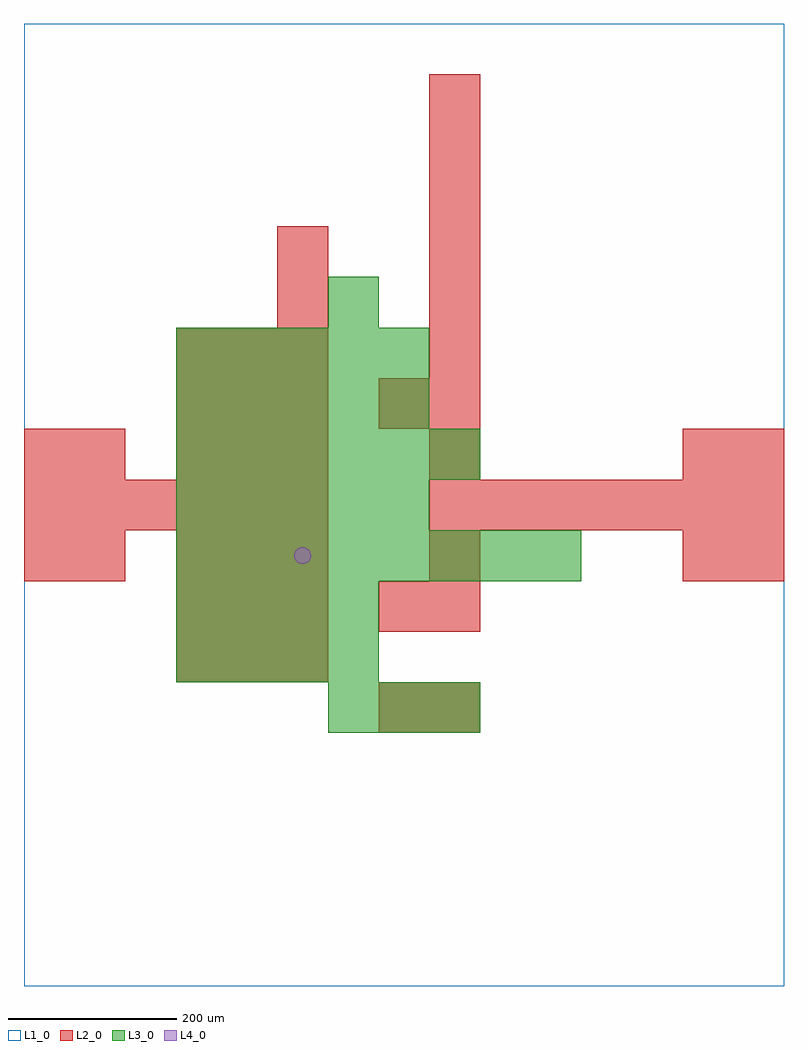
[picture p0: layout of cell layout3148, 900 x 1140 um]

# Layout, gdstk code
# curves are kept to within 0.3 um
import gdstk
lib = gdstk.Library(unit=1e-6, precision=1e-09)
def R(c, l, rs):  # rectangles x0, y0, x1, y1
    for r in rs: c.add(gdstk.rectangle(r[:2], r[2:], *l))
def A(c, l, x, y, w, h, nx, ny, dx, dy):  # array of equal rectangles
    R(c, l, [(x+i*dx, y+j*dy, x+i*dx+w, y+j*dy+h) for i in range(nx) for j in range(ny)])
def P(c, l, *ps):  # polygons
    for p in ps: c.add(gdstk.Polygon(p, *l))
L1_0 = (1, 0)
L2_0 = (2, 0)
L3_0 = (3, 0)
L4_0 = (4, 0)

layout3148 = lib.new_cell('layout3148')
R(layout3148, L1_0, [(0,0,900,1140)])
A(layout3148, L2_0, 180, 360, 60, 60, 3, 3, 60, 60)
A(layout3148, L2_0, 0, 540, 60, 60, 6, 1, 60, 0)
A(layout3148, L2_0, 480, 540, 60, 60, 7, 1, 60, 0)
A(layout3148, L2_0, 180, 600, 60, 60, 3, 3, 60, 60)
A(layout3148, L2_0, 480, 600, 60, 60, 1, 8, 0, 60)
R(layout3148, L2_0, [(420,300,480,360), (480,300,540,360), (420,420,480,480), (480,420,540,480), (0,480,60,540), (60,480,120,540), (480,480,540,540), (780,480,840,540), (840,480,900,540), (0,600,60,660), (60,600,120,660), (780,600,840,660), (840,600,900,660), (420,660,480,720), (300,780,360,840), (300,840,360,900)])
A(layout3148, L3_0, 360, 300, 60, 60, 3, 1, 60, 0)
A(layout3148, L3_0, 180, 360, 60, 60, 4, 2, 60, 60)
A(layout3148, L3_0, 180, 480, 60, 60, 8, 1, 60, 0)
A(layout3148, L3_0, 180, 540, 60, 60, 5, 2, 60, 120)
A(layout3148, L3_0, 180, 600, 60, 60, 6, 1, 60, 0)
A(layout3148, L3_0, 180, 720, 60, 60, 5, 1, 60, 0)
R(layout3148, L3_0, [(360,780,420,840)])
P(layout3148, L4_0, [(340,510),(339.239,513.827),(337.071,517.071),(333.827,519.239),(330,520),(326.173,519.239),(322.929,517.071),(320.761,513.827),(320,510),(320.761,506.173),(322.929,502.929),(326.173,500.761),(330,500),(333.827,500.761),(337.071,502.929),(339.239,506.173)])

lib.write_gds('layout3148.gds')
